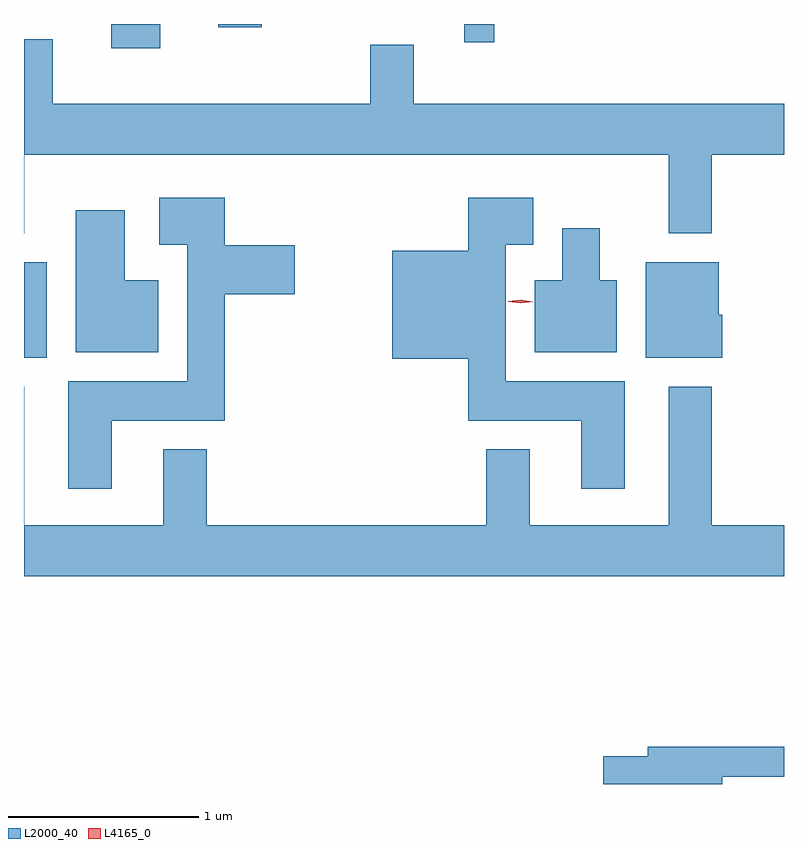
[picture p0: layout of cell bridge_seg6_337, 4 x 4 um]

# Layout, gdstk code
import gdstk
lib = gdstk.Library(unit=1e-6, precision=1e-09)
def R(c, l, rs):  # rectangles x0, y0, x1, y1
    for r in rs: c.add(gdstk.rectangle(r[:2], r[2:], *l))
def P(c, l, *ps):  # polygons
    for p in ps: c.add(gdstk.Polygon(p, *l))
L2000_40 = (2000, 40)
L4165_0 = (4165, 0)

bridge_seg6_337 = lib.new_cell('bridge_seg6_337')
R(bridge_seg6_337, L2000_40, [(1278.188,1551.186,1278.309,1551.689), (1278.646,1552.816,1278.904,1552.943), (1280.506,1552.848,1280.664,1552.943), (1279.211,1552.926,1279.439,1552.943)])
P(bridge_seg6_337, L2000_40, [(1278.189,1552.256),(1281.581,1552.256),(1281.581,1551.841),(1281.809,1551.841),(1281.809,1552.256),(1282.188,1552.256),(1282.188,1552.524),(1280.239,1552.524),(1280.239,1552.834),(1280.011,1552.834),(1280.011,1552.524),(1278.339,1552.524),(1278.339,1552.864),(1278.188,1552.864),(1278.188,1551.841),(1278.189,1551.841)],
  [(1278.649,1550.856),(1279.244,1550.856),(1279.244,1551.521),(1279.614,1551.521),(1279.614,1551.779),(1279.244,1551.779),(1279.244,1552.029),(1278.901,1552.029),(1278.901,1551.781),(1279.046,1551.781),(1279.046,1551.064),(1278.421,1551.064),(1278.421,1550.496),(1278.649,1550.496)],
  [(1281.349,1551.064),(1280.724,1551.064),(1280.724,1551.781),(1280.869,1551.781),(1280.869,1552.029),(1280.526,1552.029),(1280.526,1551.749),(1280.126,1551.749),(1280.126,1551.181),(1280.526,1551.181),(1280.526,1550.856),(1281.121,1550.856),(1281.121,1550.496),(1281.349,1550.496)],
  [(1278.894,1551.594),(1278.719,1551.594),(1278.719,1551.964),(1278.461,1551.964),(1278.461,1551.216),(1278.894,1551.216)],
  [(1281.309,1551.594),(1281.219,1551.594),(1281.219,1551.869),(1281.021,1551.869),(1281.021,1551.594),(1280.876,1551.594),(1280.876,1551.216),(1281.309,1551.216)],
  [(1281.864,1551.414),(1281.844,1551.414),(1281.844,1551.689),(1281.461,1551.689),(1281.461,1551.186),(1281.864,1551.186)],
  [(1282.188,1550.304),(1281.809,1550.304),(1281.809,1551.034),(1281.581,1551.034),(1281.581,1550.304),(1280.849,1550.304),(1280.849,1550.704),(1280.621,1550.704),(1280.621,1550.304),(1279.149,1550.304),(1279.149,1550.704),(1278.921,1550.704),(1278.921,1550.304),(1278.189,1550.304),(1278.189,1551.034),(1278.188,1551.034),(1278.188,1550.036),(1282.188,1550.036)],
  [(1281.864,1548.981),(1282.188,1548.981),(1282.188,1549.139),(1281.471,1549.139),(1281.471,1549.089),(1281.236,1549.089),(1281.236,1548.943),(1281.864,1548.943)])
P(bridge_seg6_337, L4165_0, [(1280.802,1551.472),(1280.736,1551.482),(1280.736,1551.483),(1280.736,1551.483),(1280.802,1551.492),(1280.868,1551.481),(1280.868,1551.48),(1280.868,1551.48)])

lib.write_gds('bridge_seg6_337.gds')
